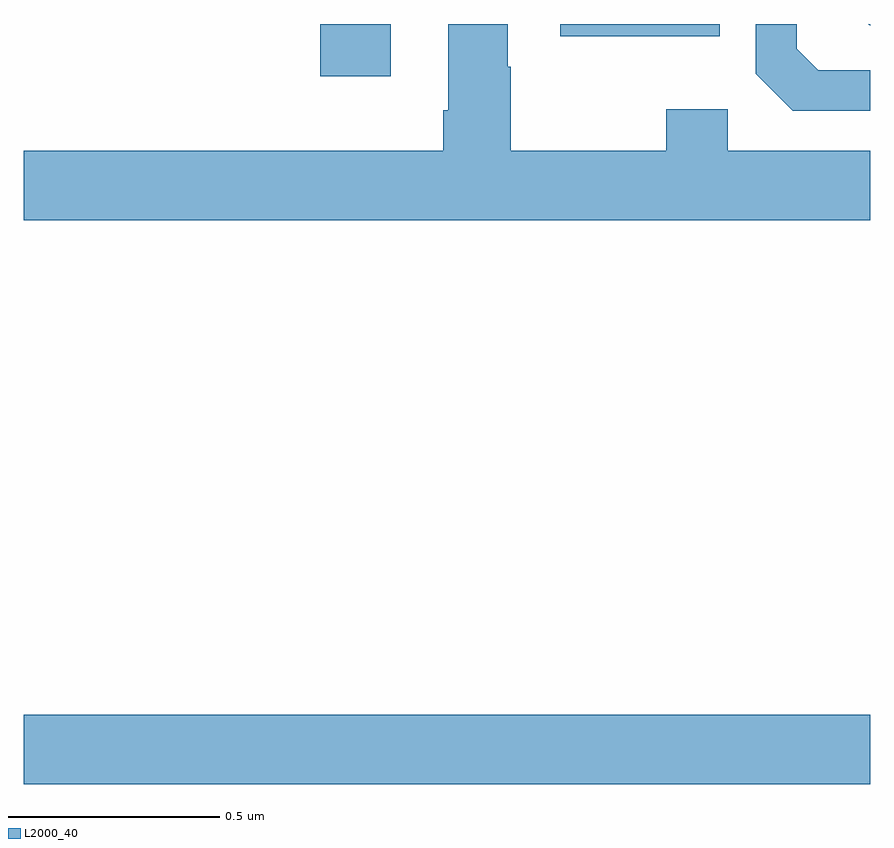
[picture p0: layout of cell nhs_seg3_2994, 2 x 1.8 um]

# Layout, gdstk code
import gdstk
lib = gdstk.Library(unit=1e-6, precision=1e-09)
def R(c, l, rs):  # rectangles x0, y0, x1, y1
    for r in rs: c.add(gdstk.rectangle(r[:2], r[2:], *l))
def P(c, l, *ps):  # polygons
    for p in ps: c.add(gdstk.Polygon(p, *l))
L2000_40 = (2000, 40)

nhs_seg3_2994 = lib.new_cell('nhs_seg3_2994')
R(nhs_seg3_2994, L2000_40, [(148,679.604,150,679.768), (148.7,681.276,148.867,681.4), (149.268,681.371,149.645,681.4)])
P(nhs_seg3_2994, L2000_40, [(150,681.1),(149.664,681.1),(149.664,681.199),(149.518,681.199),(149.518,681.1),(149.151,681.1),(149.151,681.299),(149.143,681.299),(149.143,681.4),(149.003,681.4),(149.003,681.196),(148.991,681.196),(148.991,681.1),(148,681.1),(148,680.936),(150,680.936)],
  [(150,681.4),(149.996,681.4),(150,681.396)],
  [(150,681.291),(149.877,681.291),(149.826,681.342),(149.826,681.4),(149.73,681.4),(149.73,681.282),(149.817,681.195),(150,681.195)])

lib.write_gds('nhs_seg3_2994.gds')
